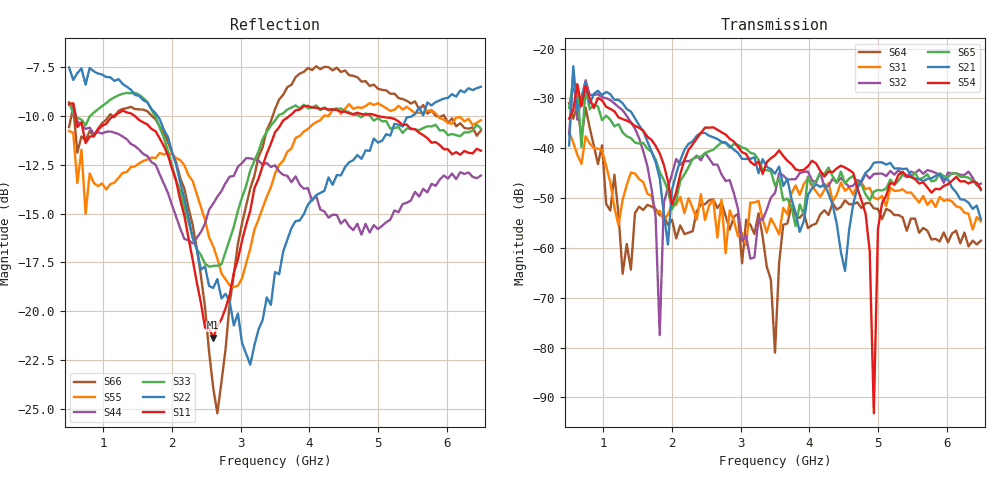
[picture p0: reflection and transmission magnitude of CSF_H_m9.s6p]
!Keysight Technologies,M9804A,MY58100912,A.14.10.03
!Date: Thursday, April 27, 2023 10:28:33
!Correction: S11(C  6-Port  )
!S12(C  6-Port  )
!S13(C  6-Port  )
!S14(C  6-Port  )
!S15(C  6-Port  )
!S16(C  6-Port  )
!S21(C  6-Port  )
!S22(C  6-Port  )
!S23(C  6-Port  )
!S24(C  6-Port  )
!S25(C  6-Port  )
!S26(C  6-Port  )
!S31(C  6-Port  )
!S32(C  6-Port  )
!S33(C  6-Port  )
!S34(C  6-Port  )
!S35(C  6-Port  )
!S36(C  6-Port  )
!S41(C  6-Port  )
!S42(C  6-Port  )
!S43(C  6-Port  )
!S44(C  6-Port  )
!S45(C  6-Port  )
!S46(C  6-Port  )
!S51(C  6-Port  )
!S52(C  6-Port  )
!S53(C  6-Port  )
!S54(C  6-Port  )
!S55(C  6-Port  )
!S56(C  6-Port  )
!S61(C  6-Port  )
!S62(C  6-Port  )
!S63(C  6-Port  )
!S64(C  6-Port  )
!S65(C  6-Port  )
!S66(C  6-Port  )
!S6P File: Measurement: :
# Hz S  RI  R 50
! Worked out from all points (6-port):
!   101 points, 500 MHz to 6.5 GHz, reference 50 ohm
!   strongest paths, dB at 500 MHz, 2 GHz, 3.5 GHz, 5 GHz, 6.5 GHz:
!     S54: -34.0, -51.3, -41.4, -56.2, -48.2
!     S21: -39.4, -48.3, -45.1, -42.8, -54.2
!     S65: -31.9, -52.2, -47.5, -48.3, -48.4
!     S32: -37.3, -45.2, -49.0, -45.1, -47.1
!     S31: -36.7, -51.2, -55.6, -50.2, -54.7
!     S64: -30.9, -54.3, -81.0, -52.2, -58.6
!   lowest |S11| = -21.4 dB at 2.6 GHz (marker M1), VSWR 1.19, Z = 42.4 + j2.32 ohm
!   |S11| at or under -10 dB: 592 MHz to 1.148 GHz (555.6 MHz wide, 63.9 % of centre); 1.458 GHz to 3.71 GHz (2.252 GHz wide, 87.1 % of centre); 4.995 GHz to end of sweep
